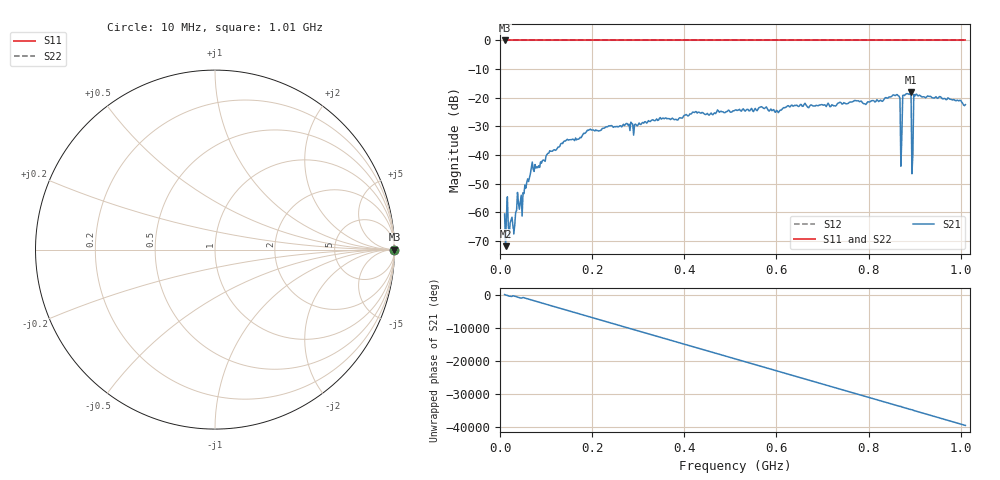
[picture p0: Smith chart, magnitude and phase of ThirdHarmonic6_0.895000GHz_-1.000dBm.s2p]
! 8/16/2025 5:23:50 AM
! C:\ANRITSUVNA\TEMP\TEMP.S2P
! CHANNEL.1
! TR.MEASUREMENT
! RAW.DATA
! RF.CORRECTION.OFF
! AVERAGING.OFF
! IF.BANDWIDTH: 5KHZ
! SWEEPTYPE:  FREQ.SWEEP(Linear)
! Reference Plane Port Info
! PORT:  PORT1  PORT2
! DISTANCE:  0  m  0  m
! TIME:  0  s  0  s
! PHASE.OFFSET:  0  deg.  0  deg.
! LOSS:  0  dB  0  dB
! REF.LOSS:  0  dB  0  dB
! REF.FREQ:  0  Hz  0  Hz
! Power Info
! POWER:  -20  dBm  -20  dBm
! EFF.POWER:  -20  dBm  -20  dBm
! SOURCE.ATTEN:  0  dB  0  dB
! TEST.ATTEN:  0  dB  0  dB
# GHZ S RI R 50.0
! FREQ.GHZ  S11RE  S11IM  S21RE  S21IM  S12RE  S12IM  S22RE  S22IM
!; PortSelection: Port_12
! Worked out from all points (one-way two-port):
!   501 points, 10 MHz to 1.01 GHz, reference 50 ohm
!   highest |S21| = -17.96 dB at 892 MHz (marker M1); lowest = -71.8 dB at 12 MHz (marker M2)
!   lowest |S11| = 0.0 dB at 10 MHz (marker M3)
!   |S11| at or under -10 dB: nowhere
!   |S22| runs from 0.0 to 0.0 dB; largest |S21 - S12| = 1.1
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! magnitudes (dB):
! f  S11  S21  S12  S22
! 10 MHz  0.0  -60.5  0.0  0.0
! 12 MHz  0.0  -71.8  0.0  0.0
! 16 MHz  0.0  -54.5  0.0  0.0
! 32 MHz  0.0  -64.4  0.0  0.0
! 38 MHz  0.0  -53.0  0.0  0.0
! 46 MHz  0.0  -54.0  0.0  0.0
! 72 MHz  0.0  -44.9  0.0  0.0
! 178 MHz  0.0  -33.3  0.0  0.0
! 344 MHz  0.0  -27.8  0.0  0.0
! 510 MHz  0.0  -24.3  0.0  0.0
! 678 MHz  0.0  -22.7  0.0  0.0
! 844 MHz  0.0  -19.7  0.0  0.0
! 864 MHz  0.0  -19.2  0.0  0.0
! 868 MHz  0.0  -20.1  0.0  0.0
! 870 MHz  0.0  -43.9  0.0  0.0
! 874 MHz  0.0  -19.2  0.0  0.0
! 878 MHz  0.0  -19.2  0.0  0.0
! 888 MHz  0.0  -18.8  0.0  0.0
! 892 MHz  0.0  -18.0  0.0  0.0
! 898 MHz  0.0  -18.8  0.0  0.0
! 902 MHz  0.0  -18.8  0.0  0.0
! 1.01 GHz  0.0  -22.4  0.0  0.0
